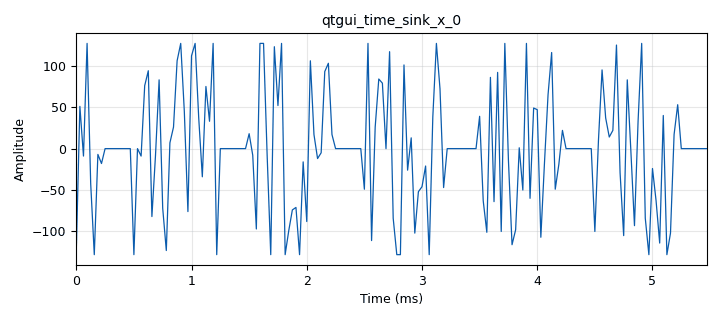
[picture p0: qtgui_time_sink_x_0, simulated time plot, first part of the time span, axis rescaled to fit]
options:
  parameters:
    generate_options: qt_gui
    id: defaultid
    output_language: python
    title: Not titled yet
  states: {}

blocks:
- name: samp_rate
  id: variable
  parameters:
    value: '32000'
  states: {}
- name: analog_noise_source_x_0
  id: analog_noise_source_x
  parameters:
    amp: '1'
    noise_type: analog.GR_GAUSSIAN
    seed: '0'
    type: complex
  states: {}
- name: analog_sig_source_x_0
  id: analog_sig_source_x
  parameters:
    amp: '1'
    freq: '1000'
    offset: '0'
    phase: '0'
    samp_rate: samp_rate
    type: complex
    waveform: analog.GR_SQR_WAVE
  states: {}
- name: blocks_char_to_float_0
  id: blocks_char_to_float
  parameters:
    scale: '1'
  states: {}
- name: blocks_complex_to_real_0
  id: blocks_complex_to_real
  parameters: {}
  states: {}
- name: blocks_float_to_char_0
  id: blocks_float_to_char
  parameters:
    scale: '127'
  states: {}
- name: blocks_multiply_xx_0
  id: blocks_multiply_xx
  parameters:
    type: complex
  states: {}
- name: blocks_stream_to_tagged_stream_0
  id: blocks_stream_to_tagged_stream
  parameters:
    len_tag_key: '"packet_len"'
    packet_len: '30'
    type: byte
  states: {}
- name: blocks_throttle_0
  id: blocks_throttle
  parameters:
    samples_per_second: samp_rate
    type: complex
  states: {}
- name: openemissions_pad_crop_0
  id: openemissions_pad_crop
  parameters:
    crop: 'True'
    length: '640'
    lengthtagname: packet_len
    pad: 'True'
    type: byte
  states: {}
- name: openemissions_pigpio_sink_0
  id: openemissions_pigpio_sink
  parameters:
    address: 169.254.237.219:8888
    hardware_clock_frequency: '30000000'
    level: '0'
    pad_milliamps: '0'
    pin: '4'
    samples_per_second: samp_rate
    type: byte
    vlen: '1'
    wave_buffer_percent: '20'
  states: {}
- name: qtgui_time_sink_x_0
  id: qtgui_time_sink_x
  parameters:
    size: '1024'
    srate: samp_rate
    type: float
  states: {}
- name: video_sdl_sink_0
  id: video_sdl_sink
  parameters:
    display_height: '480'
    display_width: '640'
    fps: '0'
    height: '480'
    type: byte
    width: '640'
  states: {}

connections:
- [analog_noise_source_x_0, '0', blocks_multiply_xx_0, '1']
- [analog_sig_source_x_0, '0', blocks_multiply_xx_0, '0']
- [blocks_char_to_float_0, '0', qtgui_time_sink_x_0, '0']
- [blocks_complex_to_real_0, '0', blocks_float_to_char_0, '0']
- [blocks_float_to_char_0, '0', blocks_char_to_float_0, '0']
- [blocks_float_to_char_0, '0', blocks_stream_to_tagged_stream_0, '0']
- [blocks_float_to_char_0, '0', openemissions_pigpio_sink_0, '0']
- [blocks_multiply_xx_0, '0', blocks_throttle_0, '0']
- [blocks_stream_to_tagged_stream_0, '0', openemissions_pad_crop_0, '0']
- [blocks_throttle_0, '0', blocks_complex_to_real_0, '0']
- [openemissions_pad_crop_0, '0', video_sdl_sink_0, '0']

metadata:
  file_format: 1
